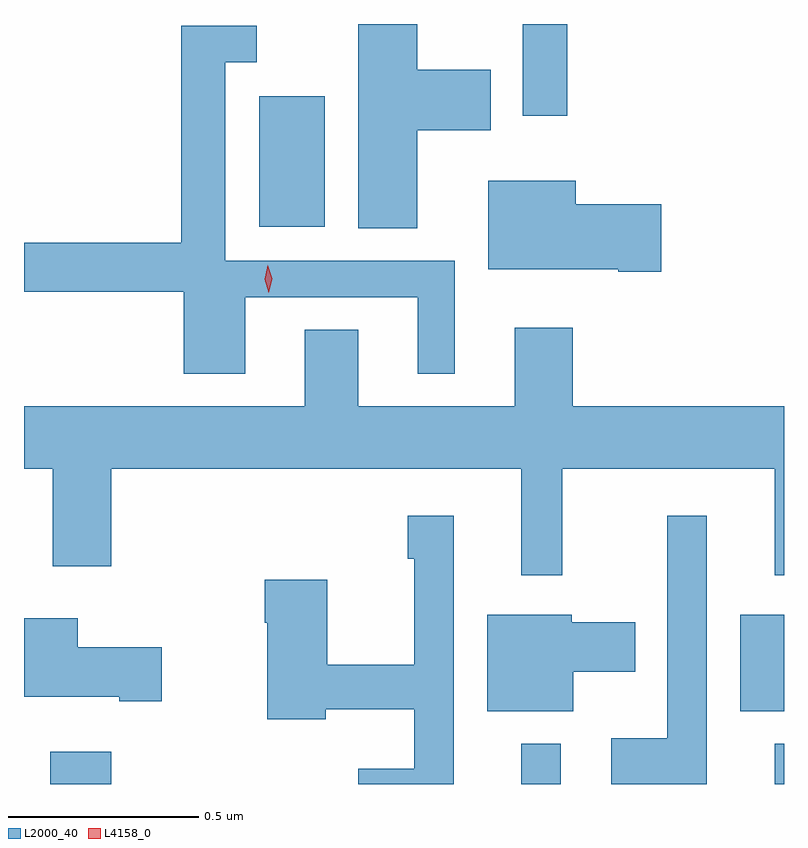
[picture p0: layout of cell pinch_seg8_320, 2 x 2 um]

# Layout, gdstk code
import gdstk
lib = gdstk.Library(unit=1e-6, precision=1e-09)
def R(c, l, rs):  # rectangles x0, y0, x1, y1
    for r in rs: c.add(gdstk.rectangle(r[:2], r[2:], *l))
def P(c, l, *ps):  # polygons
    for p in ps: c.add(gdstk.Polygon(p, *l))
L2000_40 = (2000, 40)
L4158_0 = (4158, 0)

pinch_seg8_320 = lib.new_cell('pinch_seg8_320')
R(pinch_seg8_320, L2000_40, [(565.705,1140.978,565.865,1141.063), (566.945,1140.978,567.049,1141.084), (567.611,1140.978,567.636,1141.084), (567.521,1141.169,567.636,1141.423), (566.255,1142.444,566.428,1142.788), (566.949,1142.736,567.065,1142.978)])
P(pinch_seg8_320, L2000_40, [(566.671,1142.699),(566.864,1142.699),(566.864,1142.857),(566.671,1142.857),(566.671,1142.978),(566.516,1142.978),(566.516,1142.44),(566.671,1142.44)],
  [(566.218,1142.259),(566.672,1142.259),(566.672,1142.058),(566.77,1142.058),(566.77,1142.355),(566.166,1142.355),(566.166,1142.877),(566.248,1142.877),(566.248,1142.974),(566.05,1142.974),(566.05,1142.402),(565.636,1142.402),(565.636,1142.274),(566.057,1142.274),(566.057,1142.058),(566.218,1142.058)],
  [(567.313,1142.504),(567.088,1142.504),(567.088,1142.566),(566.858,1142.566),(566.858,1142.333),(567.2,1142.333),(567.2,1142.326),(567.313,1142.326)],
  [(567.052,1141.808),(567.611,1141.808),(567.611,1141.527),(567.636,1141.527),(567.636,1141.972),(567.08,1141.972),(567.08,1142.179),(566.927,1142.179),(566.927,1141.972),(566.515,1141.972),(566.515,1142.174),(566.375,1142.174),(566.375,1141.972),(565.636,1141.972),(565.636,1141.808),(565.712,1141.808),(565.712,1141.551),(565.865,1141.551),(565.865,1141.808),(566.945,1141.808),(566.945,1141.527),(567.052,1141.527)],
  [(566.767,1141.684),(566.646,1141.684),(566.646,1141.571),(566.663,1141.571),(566.663,1141.292),(566.434,1141.292),(566.434,1141.516),(566.269,1141.516),(566.269,1141.403),(566.276,1141.403),(566.276,1141.148),(566.43,1141.148),(566.43,1141.175),(566.663,1141.175),(566.663,1141.018),(566.516,1141.018),(566.516,1140.978),(566.767,1140.978)],
  [(567.433,1141.684),(567.329,1141.684),(567.329,1141.099),(567.182,1141.099),(567.182,1140.978),(567.433,1140.978)],
  [(567.082,1141.274),(567.244,1141.274),(567.244,1141.404),(567.078,1141.404),(567.078,1141.423),(566.855,1141.423),(566.855,1141.169),(567.082,1141.169)],
  [(565.999,1141.338),(565.777,1141.338),(565.777,1141.414),(565.636,1141.414),(565.636,1141.208),(565.886,1141.208),(565.886,1141.196),(565.999,1141.196)])
P(pinch_seg8_320, L4158_0, [(566.28,1142.271),(566.28,1142.271),(566.269,1142.306),(566.278,1142.343),(566.278,1142.343),(566.278,1142.343),(566.289,1142.307),(566.28,1142.271)])

lib.write_gds('pinch_seg8_320.gds')
